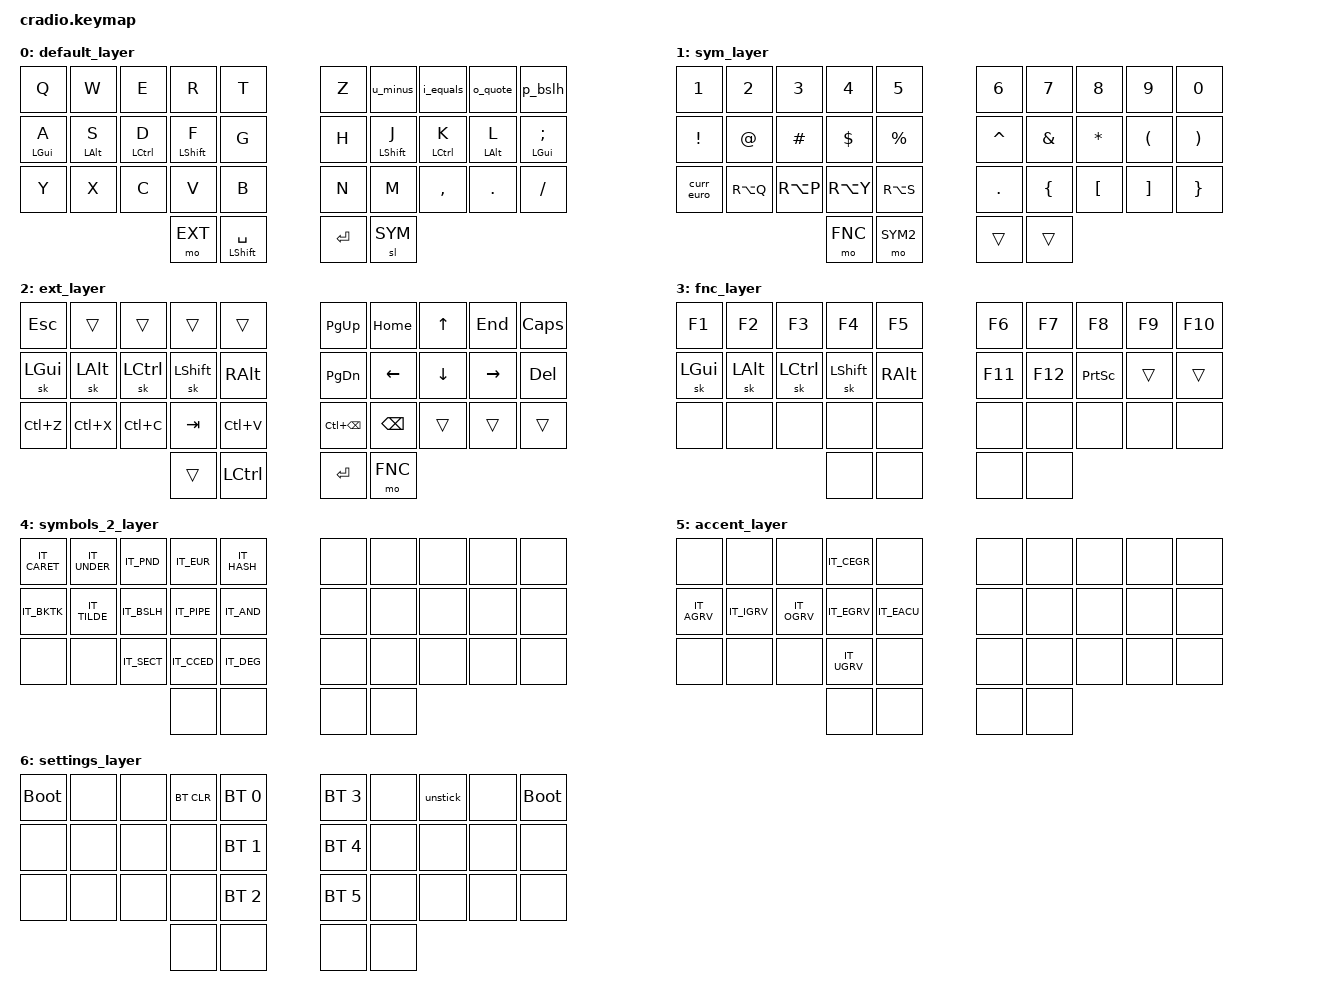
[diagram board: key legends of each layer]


#include <behaviors.dtsi>
#include <dt-bindings/zmk/bt.h>
#include <dt-bindings/zmk/keys.h>
#include "keymap_italian.h"

#define HOST_OS 1
#define ZMK_HELPER_KEEP_NATIVE 1

#include "zmk-helpers/helper.h"
#include "zmk-helpers/key-labels/sofle.h"
#include "zmk-helpers/unicode-chars/german.dtsi"
#include "zmk-helpers/unicode-chars/currency.dtsi"


#define BASE 0
#define SYM 1
#define EXT 2
#define FNC 3
#define SYM2 4
#define ACCENT 5
#define SETTINGS 6

// -----------------
/* Global defaults */

#define QUICK_TAP_MS 175

&sk {
    release-after-ms = <900>;
    quick-release;
};

&sl {
    ignore-modifiers;
};

&lt {
    flavor = "balanced";
    tapping-term-ms = <200>;
    quick-tap-ms = <QUICK_TAP_MS>;
};

/* Homerow mods */

#define KEYS_L LT0 LT1 LT2 LT3 LT4 LM0 LM1 LM2 LM3 LM4 LB0 LB1 LB2 LB3 LB4
#define KEYS_R RT0 RT1 RT2 RT3 RT4 RM0 RM1 RM2 RM3 RM4 RB0 RB1 RB2 RB3 RB4

#ifndef LH2

#define THUMBS LH1 LH0 RH0 RH1         // Thumbs on 34 keys.

#else

#define THUMBS LH2 LH1 LH0 RH0 RH1 RH2 // Thumbs on 36+ keys.

#endif

#define MAKE_HRM(NAME, HOLD, TAP, TRIGGER_POS)                                 \
  ZMK_HOLD_TAP(NAME, bindings = <HOLD>, <TAP>; flavor = "balanced";            \
               tapping-term-ms = <280>; quick-tap-ms = <QUICK_TAP_MS>;         \
               require-prior-idle-ms = <150>; hold-trigger-on-release;         \
               hold-trigger-key-positions = <TRIGGER_POS>;)

MAKE_HRM(hml, &kp, &kp, KEYS_R THUMBS) // Left-hand HRMs.
MAKE_HRM(hmr, &kp, &kp, KEYS_L THUMBS) // Right-hand HRMs.
&caps_word { continue-list = <UNDERSCORE MINUS>; };

&mt {
    //  flavor = "tap-preferred";
    // tapping_term_ms = <200>;
};

&sk { ignore-modifiers; };

/ {
    macros {
        // sometimes my device thinks a modifier is being held down
        // pressing all modifiers fixes it.

        unstick: unstick {
            label = "ZM_unstick";
            compatible = "zmk,behavior-macro";
            #binding-cells = <0>;
            bindings = <&kp LSHIFT &kp RSHIFT &kp LCTRL &kp RCTRL &kp LALT &kp RALT &kp LGUI &kp RGUI>;
        };
    };

    combos {
        compatible = "zmk,combos";

        // both right thumb keys

        combo_accent {
            timeout-ms = <300>;
            key-positions = <32 33>;
            bindings = <&mo ACCENT>;
        };

        // internal-left & external-right thumb keys

        combo_sym2 {
            timeout-ms = <200>;
            key-positions = <31 33>;
            bindings = <&mo SYM2>;
        };

        // both left thumb keys

        combo_settings {
            timeout-ms = <300>;
            key-positions = <30 31>;
            bindings = <&mo SETTINGS>;
        };
    };

    behaviors {
        u_minus: u_minus {
            compatible = "zmk,behavior-tap-dance";
            label = "U_MINUS";
            #binding-cells = <0>;
            tapping-term-ms = <170>;
            bindings = <&kp U>, <&kp MINUS>;
        };

        i_equals: i_equals {
            compatible = "zmk,behavior-tap-dance";
            label = "I_PLUS";
            #binding-cells = <0>;
            tapping-term-ms = <170>;
            bindings = <&kp I>, <&kp EQUAL>;
        };

        o_quote: o_quote {
            compatible = "zmk,behavior-tap-dance";
            label = "O_QUOTE";
            #binding-cells = <0>;
            tapping-term-ms = <170>;
            bindings = <&kp O>, <&kp SQT>;
        };

        p_bslh: p_bslh {
            compatible = "zmk,behavior-tap-dance";
            label = "P_BSLH";
            #binding-cells = <0>;
            tapping-term-ms = <170>;
            bindings = <&kp P>, <&kp BSLH>;
        };
    };

    keymap {
        compatible = "zmk,keymap";

        // Base alpha layer

        default_layer {
            bindings = <
&kp Q        &kp W        &kp E         &kp R         &kp T               &kp Z      &u_minus         &i_equals         &o_quote        &p_bslh
&hml LGUI A  &hml LALT S  &hml LCTRL D  &hml LSHFT F  &kp G               &kp H      &hmr LSHFT J  &hmr LCTRL K  &hmr LALT L  &hmr LGUI SEMI
&kp Y        &kp X        &kp C         &kp V         &kp B               &kp N      &kp M         &kp COMMA     &kp DOT      &kp FSLH
                                        &mo EXT       &mt LSHIFT SPACE    &kp ENTER  &sl SYM
            >;
        };

        // Numbers and high frequency symbols

        sym_layer {
            bindings = <
&kp N1     &kp N2     &kp N3     &kp N4     &kp N5       &kp N6     &kp N7    &kp N8     &kp N9    &kp N0
&kp EXCL   &kp AT     &kp HASH   &kp DLLR   &kp PRCNT    &kp CARET  &kp AMPS  &kp ASTRK  &kp LPAR  &kp RPAR
&curr_euro  &kp RA(Q)  &kp RA(P)  &kp RA(Y)  &kp RA(S)    &kp DOT    &kp LBRC  &kp LBKT   &kp RBKT  &kp RBRC
                                 &mo FNC    &mo SYM2     &trans     &trans
            >;
        };

        // Main modifiers and arrow keys

        ext_layer {
            bindings = <
&kp ESC    &trans     &trans     &trans      &trans       &kp PG_UP     &kp HOME  &kp UP    &kp END    &kp CAPS
&sk LGUI   &sk LALT   &sk LCTRL  &sk LSHIFT  &kp RALT     &kp PG_DN     &kp LEFT  &kp DOWN  &kp RIGHT  &kp DEL
&kp LC(Z)  &kp LC(X)  &kp LC(C)  &kp TAB     &kp LC(V)    &kp LC(BSPC)  &kp BSPC  &trans    &trans     &trans
                                 &trans      &kp LCTRL    &kp ENTER     &mo FNC
            >;
        };

        // Function keys with modifiers

        fnc_layer {
            bindings = <
&kp F1    &kp F2    &kp F3     &kp F4      &kp F5      &kp F6   &kp F7   &kp F8           &kp F9  &kp F10
&sk LGUI  &sk LALT  &sk LCTRL  &sk LSHIFT  &kp RALT    &kp F11  &kp F12  &kp PRINTSCREEN  &trans  &trans
&none     &none     &none      &none       &none       &none    &none    &none            &none   &none
                               &none       &none       &none    &none
            >;
        };

        // Low frequency symbols.

        symbols_2_layer {
            bindings = <
&kp IT_CARET  &kp IT_UNDER  &kp IT_PND   &kp IT_EUR   &kp IT_HASH    &none  &none  &none  &none  &none
&kp IT_BKTK   &kp IT_TILDE  &kp IT_BSLH  &kp IT_PIPE  &kp IT_AND     &none  &none  &none  &none  &none
&none         &none         &kp IT_SECT  &kp IT_CCED  &kp IT_DEG     &none  &none  &none  &none  &none
                                         &none        &none          &none  &none
            >;
        };

        // Used to type regional accents.

        accent_layer {
            bindings = <
&none        &none        &none        &kp IT_CEGR  &none          &none  &none  &none  &none  &none
&kp IT_AGRV  &kp IT_IGRV  &kp IT_OGRV  &kp IT_EGRV  &kp IT_EACU    &none  &none  &none  &none  &none
&none        &none        &none        &kp IT_UGRV  &none          &none  &none  &none  &none  &none
                                       &none        &none          &none  &none
            >;
        };

        // Used to change the keyboard's settings.

        settings_layer {
            bindings = <
&bootloader  &none  &none  &bt BT_CLR  &bt BT_SEL 0    &bt BT_SEL 3  &none  &unstick  &none  &bootloader
&none        &none  &none  &none       &bt BT_SEL 1    &bt BT_SEL 4  &none  &none     &none  &none
&none        &none  &none  &none       &bt BT_SEL 2    &bt BT_SEL 5  &none  &none     &none  &none
                           &none       &none           &none         &none
            >;
        };
    };
};
